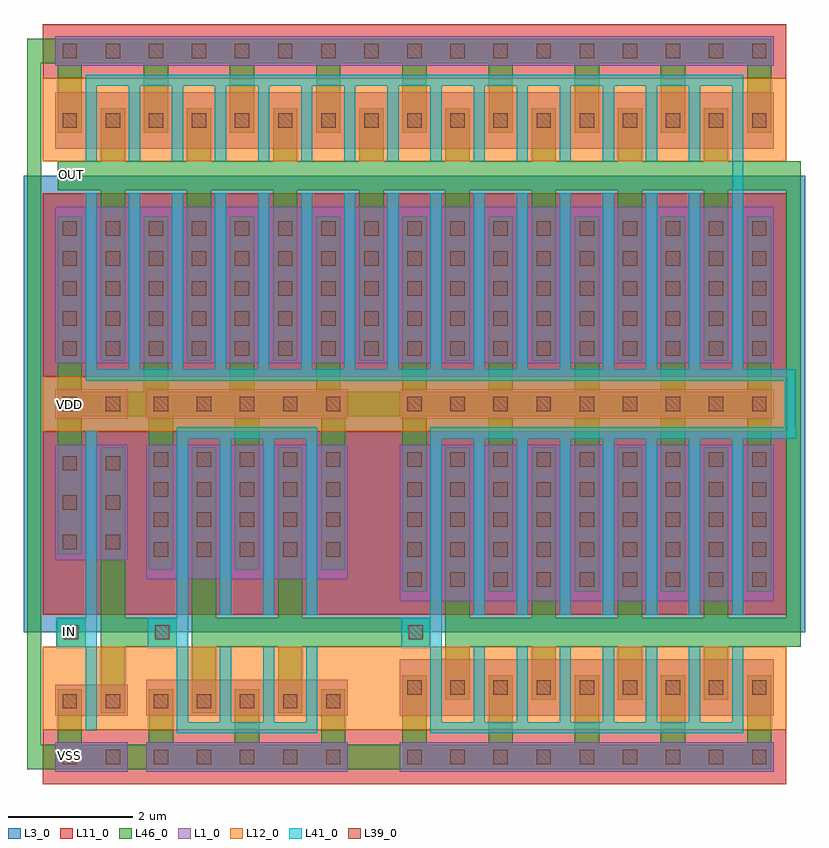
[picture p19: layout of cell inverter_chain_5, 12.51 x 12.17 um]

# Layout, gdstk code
import gdstk
lib = gdstk.Library(unit=1e-6, precision=1e-09)
def R(c, l, rs):  # rectangles x0, y0, x1, y1
    for r in rs: c.add(gdstk.rectangle(r[:2], r[2:], *l))
def A(c, l, x, y, w, h, nx, ny, dx, dy):  # array of equal rectangles
    R(c, l, [(x+i*dx, y+j*dy, x+i*dx+w, y+j*dy+h) for i in range(nx) for j in range(ny)])
L1_0 = (1, 0)
L3_0 = (3, 0)
L11_0 = (11, 0)
L12_0 = (12, 0)
L39_0 = (39, 0)
L41_0 = (41, 0)
L46_0 = (46, 0)

inverter_chain_5 = lib.new_cell('inverter_chain_5')
A(inverter_chain_5, L1_0, 26.465, -3.385, 1.85, 0.47, 4, 2, 1.38, 5.65)
A(inverter_chain_5, L1_0, 26.465, -2.495, 1.85, 0.91, 4, 1, 1.38, 0)
A(inverter_chain_5, L1_0, 26.465, -0.655, 1.85, 2.5, 4, 1, 1.38, 0)
A(inverter_chain_5, L1_0, 20.945, 3.155, 1.85, 2.5, 8, 1, 1.38, 0)
A(inverter_chain_5, L1_0, 20.945, 6.585, 1.85, 0.91, 8, 1, 1.38, 0)
A(inverter_chain_5, L1_0, 20.945, 7.915, 1.85, 0.47, 8, 1, 1.38, 0)
R(inverter_chain_5, L1_0, [(20.945,-3.385,22.105,-2.915), (22.405,-3.385,24.255,-2.915), (23.785,-3.385,25.635,-2.915), (20.945,-2.495,22.105,-1.995), (22.405,-2.495,24.255,-1.915), (23.785,-2.495,25.635,-1.915), (22.405,-0.305,24.255,1.845), (23.785,-0.305,25.635,1.845), (20.945,-0.005,22.105,1.845), (20.945,2.265,22.105,2.735), (22.405,2.265,24.255,2.735), (23.785,2.265,25.635,2.735)])
A(inverter_chain_5, L3_0, 20.445, -1.155, 2.85, 7.31, 8, 1, 1.38, 0)
A(inverter_chain_5, L11_0, 26.265, -3.585, 2.25, 0.87, 4, 1, 1.38, 0)
A(inverter_chain_5, L11_0, 26.265, -0.875, 2.25, 2.94, 4, 1, 1.38, 0)
A(inverter_chain_5, L11_0, 20.745, 2.935, 2.25, 2.94, 8, 1, 1.38, 0)
A(inverter_chain_5, L11_0, 20.745, 7.715, 2.25, 0.87, 8, 1, 1.38, 0)
R(inverter_chain_5, L11_0, [(20.745,-3.585,22.305,-2.715), (22.205,-3.585,24.455,-2.715), (23.585,-3.585,26.265,-2.715), (20.745,-0.875,22.305,2.065), (22.205,-0.875,24.455,2.065), (23.585,-0.875,26.265,2.065)])
A(inverter_chain_5, L12_0, 26.265, -2.715, 2.25, 1.33, 4, 1, 1.38, 0)
A(inverter_chain_5, L12_0, 26.265, 2.065, 2.25, 0.87, 4, 1, 1.38, 0)
A(inverter_chain_5, L12_0, 20.745, 6.385, 2.25, 1.33, 8, 1, 1.38, 0)
R(inverter_chain_5, L12_0, [(20.745,-2.715,22.305,-1.385), (22.205,-2.715,24.455,-1.385), (23.585,-2.715,26.265,-1.385), (20.745,2.065,22.305,2.935), (22.205,2.065,24.455,2.935), (23.585,2.065,26.265,2.935)])
A(inverter_chain_5, L39_0, 22.525, -3.265, 0.23, 0.23, 3, 2, 0.69, 3.32)
A(inverter_chain_5, L39_0, 23.905, -3.265, 0.23, 0.23, 3, 2, 0.69, 3.32)
A(inverter_chain_5, L39_0, 26.585, -3.265, 0.23, 0.23, 3, 2, 0.69, 1.11)
A(inverter_chain_5, L39_0, 27.965, -3.265, 0.23, 0.23, 3, 2, 0.69, 1.11)
A(inverter_chain_5, L39_0, 29.345, -3.265, 0.23, 0.23, 3, 2, 0.69, 1.11)
A(inverter_chain_5, L39_0, 30.725, -3.265, 0.23, 0.23, 3, 2, 0.69, 1.11)
A(inverter_chain_5, L39_0, 22.525, -2.375, 0.23, 0.23, 5, 1, 0.69, 0)
A(inverter_chain_5, L39_0, 26.585, -0.425, 0.23, 0.23, 3, 5, 0.69, 0.48)
A(inverter_chain_5, L39_0, 27.965, -0.425, 0.23, 0.23, 3, 5, 0.69, 0.48)
A(inverter_chain_5, L39_0, 29.345, -0.425, 0.23, 0.23, 3, 5, 0.69, 0.48)
A(inverter_chain_5, L39_0, 30.725, -0.425, 0.23, 0.23, 3, 5, 0.69, 0.48)
A(inverter_chain_5, L39_0, 25.285, 0.055, 0.23, 0.23, 1, 4, 0, 0.48)
A(inverter_chain_5, L39_0, 21.065, 0.176, 0.23, 0.23, 1, 3, 0, 0.63)
A(inverter_chain_5, L39_0, 21.755, 0.176, 0.23, 0.23, 1, 3, 0, 0.63)
A(inverter_chain_5, L39_0, 22.525, 0.535, 0.23, 0.23, 3, 3, 0.69, 0.48)
A(inverter_chain_5, L39_0, 23.905, 0.535, 0.23, 0.23, 3, 3, 0.69, 0.48)
A(inverter_chain_5, L39_0, 22.525, 2.385, 0.23, 0.23, 3, 1, 0.69, 0)
A(inverter_chain_5, L39_0, 23.905, 2.385, 0.23, 0.23, 3, 1, 0.69, 0)
A(inverter_chain_5, L39_0, 26.585, 2.385, 0.23, 0.23, 3, 2, 0.69, 0.89)
A(inverter_chain_5, L39_0, 27.965, 2.385, 0.23, 0.23, 3, 2, 0.69, 0.89)
A(inverter_chain_5, L39_0, 29.345, 2.385, 0.23, 0.23, 3, 2, 0.69, 0.89)
A(inverter_chain_5, L39_0, 30.725, 2.385, 0.23, 0.23, 3, 2, 0.69, 0.89)
A(inverter_chain_5, L39_0, 21.065, 3.275, 0.23, 0.23, 3, 5, 0.69, 0.48)
A(inverter_chain_5, L39_0, 22.445, 3.275, 0.23, 0.23, 3, 5, 0.69, 0.48)
A(inverter_chain_5, L39_0, 23.825, 3.275, 0.23, 0.23, 3, 5, 0.69, 0.48)
A(inverter_chain_5, L39_0, 25.205, 3.275, 0.23, 0.23, 3, 5, 0.69, 0.48)
A(inverter_chain_5, L39_0, 26.585, 3.755, 0.23, 0.23, 3, 4, 0.69, 0.48)
A(inverter_chain_5, L39_0, 27.965, 3.755, 0.23, 0.23, 3, 4, 0.69, 0.48)
A(inverter_chain_5, L39_0, 29.345, 3.755, 0.23, 0.23, 3, 4, 0.69, 0.48)
A(inverter_chain_5, L39_0, 30.725, 3.755, 0.23, 0.23, 3, 4, 0.69, 0.48)
A(inverter_chain_5, L39_0, 21.065, 6.925, 0.23, 0.23, 3, 2, 0.69, 1.11)
A(inverter_chain_5, L39_0, 22.445, 6.925, 0.23, 0.23, 3, 2, 0.69, 1.11)
A(inverter_chain_5, L39_0, 23.825, 6.925, 0.23, 0.23, 3, 2, 0.69, 1.11)
A(inverter_chain_5, L39_0, 25.205, 6.925, 0.23, 0.23, 3, 2, 0.69, 1.11)
A(inverter_chain_5, L39_0, 26.585, 6.925, 0.23, 0.23, 3, 2, 0.69, 1.11)
A(inverter_chain_5, L39_0, 27.965, 6.925, 0.23, 0.23, 3, 2, 0.69, 1.11)
A(inverter_chain_5, L39_0, 29.345, 6.925, 0.23, 0.23, 3, 2, 0.69, 1.11)
A(inverter_chain_5, L39_0, 30.725, 6.925, 0.23, 0.23, 3, 2, 0.69, 1.11)
R(inverter_chain_5, L39_0, [(21.065,-3.265,21.295,-3.035), (21.755,-3.265,21.985,-3.035), (25.285,-3.265,25.515,-3.035), (21.065,-2.375,21.295,-2.145), (21.755,-2.375,21.985,-2.145), (21.085,-1.27,21.315,-1.04), (22.545,-1.27,22.775,-1.04), (26.605,-1.27,26.835,-1.04), (21.065,2.385,21.295,2.615), (21.755,2.385,21.985,2.615), (25.285,2.385,25.515,2.615)])
A(inverter_chain_5, L41_0, 23.585, -2.775, 0.18, 1.39, 3, 1, 0.69, 0)
A(inverter_chain_5, L41_0, 27.645, -2.775, 0.18, 1.39, 7, 1, 0.69, 0)
A(inverter_chain_5, L41_0, 23.585, -0.875, 0.18, 3, 3, 1, 0.69, 0)
A(inverter_chain_5, L41_0, 27.645, -0.875, 0.18, 3, 7, 1, 0.69, 0)
A(inverter_chain_5, L41_0, 21.435, 2.875, 0.18, 3, 15, 1, 0.69, 0)
A(inverter_chain_5, L41_0, 21.435, 6.385, 0.18, 1.39, 15, 1, 0.69, 0)
R(inverter_chain_5, L41_0, [(22.895,-2.775,23.075,2.125), (22.895,-2.775,25.145,-2.595), (26.955,-2.775,27.135,2.125), (26.955,-2.775,31.965,-2.595), (21.435,-2.715,21.615,2.065), (20.965,-1.39,21.435,-0.92), (22.425,-1.39,22.895,-0.92), (26.485,-1.39,26.955,-0.92), (22.895,1.945,25.145,2.125), (26.955,1.945,32.81,2.125), (32.625,1.945,32.805,3.055), (21.435,2.875,32.805,3.055), (31.785,2.935,31.965,7.775), (21.435,7.595,31.965,7.775)])
A(inverter_chain_5, L46_0, 22.445, -3.345, 0.39, 1.28, 3, 1, 1.38, 0)
A(inverter_chain_5, L46_0, 26.505, -3.345, 1.77, 0.39, 4, 1, 1.38, 0)
A(inverter_chain_5, L46_0, 27.195, -2.235, 0.39, 4.04, 4, 1, 1.38, 0)
A(inverter_chain_5, L46_0, 27.885, 2.305, 1.77, 0.39, 3, 1, 1.38, 0)
A(inverter_chain_5, L46_0, 21.675, 3.195, 0.39, 4.04, 8, 1, 1.38, 0)
A(inverter_chain_5, L46_0, 22.365, 7.955, 1.77, 0.39, 7, 1, 1.38, 0)
R(inverter_chain_5, L46_0, [(20.495,-3.345,24.215,-2.955), (20.495,-3.345,20.725,8.345), (20.985,-3.345,21.375,-2.065), (23.825,-3.345,26.895,-2.955), (26.505,-3.345,26.895,-1.845), (27.885,-3.345,28.275,-1.845), (27.885,-3.345,28.275,-1.845), (29.265,-3.345,29.655,-1.845), (29.265,-3.345,29.655,-1.845), (30.645,-3.345,31.035,-1.845), (30.645,-3.345,31.035,-1.845), (32.025,-3.345,32.415,-1.845), (21.675,-2.455,22.065,1.805), (23.135,-2.455,23.525,1.805), (24.515,-2.455,24.905,1.805), (20.965,-1.39,21.435,-0.92), (21.675,-1.39,22.895,-0.92), (23.135,-1.39,26.955,-0.92), (27.195,-1.39,32.885,-0.92), (32.655,-1.39,32.885,6.385), (26.505,-0.505,26.895,2.695), (27.885,-0.505,28.275,2.695), (27.885,-0.505,28.275,2.695), (29.265,-0.505,29.655,2.695), (29.265,-0.505,29.655,2.695), (30.645,-0.505,31.035,2.695), (30.645,-0.505,31.035,2.695), (32.025,-0.505,32.415,2.695), (22.445,-0.155,22.835,2.695), (23.825,-0.155,24.215,2.695), (23.825,-0.155,24.215,2.695), (25.205,-0.155,25.595,2.695), (25.205,-0.155,25.595,2.695), (20.985,0.096,21.375,2.695), (20.985,2.305,21.375,5.505), (20.985,2.305,24.215,2.695), (22.365,2.305,22.755,5.505), (22.365,2.305,22.755,5.505), (23.745,2.305,24.135,5.505), (23.745,2.305,24.135,5.505), (23.825,2.305,25.595,2.695), (25.125,2.305,25.515,5.505), (25.125,2.305,25.515,5.505), (25.125,2.305,28.275,2.695), (26.505,2.305,26.895,5.505), (26.505,2.305,26.895,5.505), (27.885,2.305,28.275,5.505), (27.885,2.305,28.275,5.505), (29.265,2.305,29.655,5.505), (29.265,2.305,29.655,5.505), (30.645,2.305,31.035,5.505), (30.645,2.305,31.035,5.505), (32.025,2.305,32.415,5.505), (20.985,5.92,32.885,6.39), (20.985,6.845,21.375,8.345), (22.365,6.845,22.755,8.345), (22.365,6.845,22.755,8.345), (23.745,6.845,24.135,8.345), (23.745,6.845,24.135,8.345), (25.125,6.845,25.515,8.345), (25.125,6.845,25.515,8.345), (26.505,6.845,26.895,8.345), (26.505,6.845,26.895,8.345), (27.885,6.845,28.275,8.345), (27.885,6.845,28.275,8.345), (29.265,6.845,29.655,8.345), (29.265,6.845,29.655,8.345), (30.645,6.845,31.035,8.345), (30.645,6.845,31.035,8.345), (32.025,6.845,32.415,8.345), (20.495,7.955,22.755,8.345)])
inverter_chain_5.add(gdstk.Label('IN', (21.175,-1.14), layer=101, texttype=0))
inverter_chain_5.add(gdstk.Label('OUT', (21.21,6.17), layer=101, texttype=0))
inverter_chain_5.add(gdstk.Label('VDD', (21.175,2.5), layer=101, texttype=0))
inverter_chain_5.add(gdstk.Label('VSS', (21.175,-3.135), layer=101, texttype=0))

lib.write_gds('inverter_chain_5.gds')
